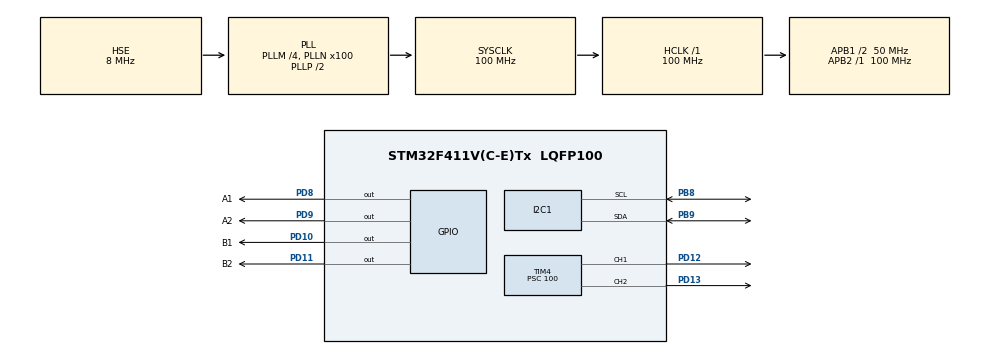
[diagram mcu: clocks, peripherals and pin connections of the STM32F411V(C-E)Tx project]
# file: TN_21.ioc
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Mcu.Family=STM32F4
Mcu.Name=STM32F411V(C-E)Tx
Mcu.Package=LQFP100
NVIC.PriorityGroup=NVIC_PRIORITYGROUP_4
PA13.Mode=Serial_Wire
PA13.Signal=SYS_JTMS-SWDIO
PA14.Mode=Serial_Wire
PA14.Signal=SYS_JTCK-SWCLK
PB8.Mode=I2C
PB8.Signal=I2C1_SCL
PB9.Mode=I2C
PB9.Signal=I2C1_SDA
PD10.GPIO_Label=B1
PD10.GPIO_ModeDefaultOutputPP=GPIO_MODE_OUTPUT_PP
PD10.GPIO_PuPd=GPIO_PULLUP
PD10.GPIO_Speed=GPIO_SPEED_FREQ_VERY_HIGH
PD10.PinState=GPIO_PIN_SET
PD10.Signal=GPIO_Output
PD11.GPIO_Label=B2
PD11.GPIO_ModeDefaultOutputPP=GPIO_MODE_OUTPUT_PP
PD11.GPIO_PuPd=GPIO_PULLUP
PD11.GPIO_Speed=GPIO_SPEED_FREQ_VERY_HIGH
PD11.Signal=GPIO_Output
PD12.Signal=S_TIM4_CH1
PD13.Signal=S_TIM4_CH2
PD8.GPIO_Label=A1
PD8.GPIO_ModeDefaultOutputPP=GPIO_MODE_OUTPUT_PP
PD8.GPIO_PuPd=GPIO_PULLUP
PD8.GPIO_Speed=GPIO_SPEED_FREQ_VERY_HIGH
PD8.PinState=GPIO_PIN_SET
PD8.Signal=GPIO_Output
PD9.GPIO_Label=A2
PD9.GPIO_ModeDefaultOutputPP=GPIO_MODE_OUTPUT_PP
PD9.GPIO_PuPd=GPIO_PULLUP
PD9.GPIO_Speed=GPIO_SPEED_FREQ_VERY_HIGH
PD9.Signal=GPIO_Output
PH0\ -\ OSC_IN.Mode=HSE-External-Oscillator
PH0\ -\ OSC_IN.Signal=RCC_OSC_IN
PH1\ -\ OSC_OUT.Mode=HSE-External-Oscillator
PH1\ -\ OSC_OUT.Signal=RCC_OSC_OUT
ProjectManager.HeapSize=0x200
ProjectManager.StackSize=0x400
ProjectManager.TargetToolchain=MDK-ARM V5
RCC.48MHZClocksFreq_Value=50000000
RCC.AHBFreq_Value=100000000
RCC.APB1CLKDivider=RCC_HCLK_DIV2
RCC.APB1Freq_Value=50000000
RCC.APB1TimFreq_Value=100000000
RCC.APB2Freq_Value=100000000
RCC.APB2TimFreq_Value=100000000
RCC.CortexFreq_Value=100000000
RCC.HCLKFreq_Value=100000000
RCC.HSE_VALUE=8000000
RCC.HSI_VALUE=16000000
RCC.LSE_VALUE=32768
RCC.PLLM=4
RCC.PLLN=100
RCC.PLLSourceVirtual=RCC_PLLSOURCE_HSE
RCC.SYSCLKFreq_VALUE=100000000
RCC.SYSCLKSource=RCC_SYSCLKSOURCE_PLLCLK
RCC.VCOOutputFreq_Value=200000000
SH.S_TIM4_CH1.0=TIM4_CH1,PWM Generation1 CH1
SH.S_TIM4_CH2.0=TIM4_CH2,PWM Generation2 CH2
TIM3.Period=1
TIM3.Prescaler=50000
TIM4.Channel-PWM\ Generation1\ CH1=TIM_CHANNEL_1
TIM4.Channel-PWM\ Generation2\ CH2=TIM_CHANNEL_2
TIM4.Period=999
TIM4.Prescaler=100
VP_TIM3_VS_ClockSourceINT.Mode=Internal
VP_TIM4_VS_ClockSourceINT.Mode=Internal
board=custom

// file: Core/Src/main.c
/* USER CODE BEGIN Header */
/**
  ******************************************************************************
  * @file           : main.c
  * @brief          : Main program body
  ******************************************************************************
  * @attention
  *
  * <h2><center>&copy; Copyright (c) 2021 STMicroelectronics.
  * All rights reserved.</center></h2>
  *
  * This software component is licensed by ST under BSD 3-Clause license,
  * the "License"; You may not use this file except in compliance with the
  * License. You may obtain a copy of the License at:
  *                        opensource.org/licenses/BSD-3-Clause
  *
  ******************************************************************************
  */
/* USER CODE END Header */
#include "main.h"

/* USER CODE BEGIN Includes */
#include "stdio.h"
#include "math.h"
int16_t Accel_X_RAW = 0;
int16_t Accel_Y_RAW = 0;
int16_t Accel_Z_RAW = 0;

int16_t Gyro_X_RAW = 0;
int16_t Gyro_Y_RAW = 0;
int16_t Gyro_Z_RAW = 0;
/* USER CODE END Includes */

/* USER CODE BEGIN PTD */
#define WHO_AM_I_REG 0X75
#define MPU6050_ADDR 0XD0
#define PWR_MGMT_1_REG 0x6B
#define SMPLRT_DIV_REG 0x19
#define ACCEL_CONFIG_REG 0x1C
#define GYRO_CONFIG_REG 0x1B

#define ACCEL_XOUT_H_REG 0x3B
#define GYRO_XOUT_H_REG 0x43
#define TEMP_OUT_H_REG 0x41
#define PWR_MGMT_1_REG 0x6B
float Ax, Ay, Az, Gx, Gy, Gz;
volatile int i;
float pitch = 0.0;
float gyroRate = 0.0;
float pi = 3.1415926559;
float time_0 = 0.0;
float time_1 = 0.0;
float timeCurrent;
float Q_angle;
float Q_bias;
float R_measure;
float angle;
float bias;
float P[2][2];
int16_t rawYGyro;
int16_t rawXAccel, rawZAccel;
float  u;
float Kp ;//5.5
float Ki ;//1.5
float Kd  ;//2
float pTerm, iTerm, dTerm, integrated_error, last_error, error;
float AngleNow;
float SP = 189.8;
/* USER CODE END PTD */

I2C_HandleTypeDef hi2c1;

TIM_HandleTypeDef htim3;
TIM_HandleTypeDef htim4;

void SystemClock_Config(void);
static void MX_GPIO_Init(void);
static void MX_I2C1_Init(void);
static void MX_TIM3_Init(void);
static void MX_TIM4_Init(void);

/* USER CODE BEGIN 0 */
void MPU6050_Init(void)
{
  uint8_t check, Data;
	HAL_I2C_Mem_Read(&hi2c1, MPU6050_ADDR, WHO_AM_I_REG,1,&check,1,1000);
		if(check == 104) // if the device is present
		{
			Data =0;
			HAL_I2C_Mem_Write(&hi2c1, MPU6050_ADDR,PWR_MGMT_1_REG,1,&Data, 1, 1000);
      Data= 0x07;
			HAL_I2C_Mem_Write(&hi2c1, MPU6050_ADDR, SMPLRT_DIV_REG,1,&Data,1,1000);
      Data = 0x00;
			HAL_I2C_Mem_Write(&hi2c1, MPU6050_ADDR, ACCEL_CONFIG_REG,1,&Data,1,1000);
      Data = 0x00;
			HAL_I2C_Mem_Write(&hi2c1, MPU6050_ADDR, GYRO_CONFIG_REG,1,&Data,1,1000);
		}
}

float Kalman_getAngle( float newAngle, float newRate, float dt) {
    float rate = newRate - bias;
    angle += dt * rate;

    P[0][0] += dt * (dt * P[1][1] - P[0][1] - P[1][0] + Q_angle);
    P[0][1] -= dt * P[1][1];
    P[1][0] -= dt * P[1][1];
    P[1][1] += Q_bias * dt;

    float S = P[0][0] + R_measure;
    float K[2];
    K[0] = P[0][0] / S;
    K[1] = P[1][0] / S;

    float y = newAngle - angle;
    angle += K[0] * y;
    bias += K[1] * y;

    float P00_temp = P[0][0];
    float P01_temp = P[0][1];

    P[0][0] -= K[0] * P00_temp;
    P[0][1] -= K[0] * P01_temp;
    P[1][0] -= K[1] * P00_temp;
    P[1][1] -= K[1] * P01_temp;

    return angle;
};

		void PID_angle_u()
	{
Kp=175;		//50	20
Ki=0; 	//8.7	18.5
Kd=0;		//0.15	0.1

	 error= SP - AngleNow;  // 180 = level

  pTerm = Kp* error;
//  integrated_error += error;
//  iTerm = Ki*integrated_error;
//  dTerm = Kd*(error - last_error);
iTerm = Ki * (error + last_error);
dTerm = Kd * (error - last_error);
  last_error = error;
  u =  pTerm + iTerm + dTerm;
	i = u;
 if ( u > 999 ) {
 u = 999;}
 else if ( u< -999 ) u= 999 ;

	}
void MPU6050_Read_Accel(void){
 uint8_t Rec_Data[6];

	HAL_I2C_Mem_Read (&hi2c1, MPU6050_ADDR, ACCEL_XOUT_H_REG,1,Rec_Data,6,1000);

	Accel_X_RAW = (int16_t)(Rec_Data[0] << 8 | Rec_Data [1]);
	Accel_Y_RAW = (int16_t)(Rec_Data[2] << 8 | Rec_Data [3]);
	Accel_Z_RAW = (int16_t)(Rec_Data[4] << 8 | Rec_Data [5]);

	Ax = Accel_X_RAW/16384.0f;
	Ay = Accel_Y_RAW/16384.0f;
	Az = Accel_Z_RAW/16384.0f;
	}

void MPU6050_Read_Gyro (void)
{
	uint8_t Rec_Data[6];

	// Read 6 BYTES of data starting from GYRO_XOUT_H register

	HAL_I2C_Mem_Read (&hi2c1, MPU6050_ADDR, GYRO_XOUT_H_REG, 1, Rec_Data, 6,1000);

	Gyro_X_RAW = (int16_t)(Rec_Data[0] << 8 | Rec_Data [1]);
	Gyro_Y_RAW = (int16_t)(Rec_Data[2] << 8 | Rec_Data [3]);
	Gyro_Z_RAW = (int16_t)(Rec_Data[4] << 8 | Rec_Data [5]);

	/*** convert the RAW values into dps (°/s)
	     we have to divide according to the Full scale value set in FS_SEL
	     I have configured FS_SEL = 0. So I am dividing by 131.0
	     for more details check GYRO_CONFIG Register              ****/

	Gx = Gyro_X_RAW/131.0f;
	Gy = Gyro_Y_RAW/131.0f;
	Gz = Gyro_Z_RAW/131.0f;
}
/* USER CODE END 0 */

int main(void)
{

  /* MCU Configuration--------------------------------------------------------*/

  /* Reset of all peripherals, Initializes the Flash interface and the Systick. */
  HAL_Init();

  /* Configure the system clock */
  SystemClock_Config();

  /* Initialize all configured peripherals */
  MX_GPIO_Init();
  MX_I2C1_Init();
  MX_TIM3_Init();
  MX_TIM4_Init();
  /* USER CODE BEGIN 2 */
 MPU6050_Init();
 bias =0.0;
angle = 0.0;
Q_angle = 0.001;
Q_bias = 0.003;
R_measure = 0.03;
HAL_TIM_PWM_Start(&htim4, TIM_CHANNEL_1);
HAL_TIM_PWM_Start(&htim4, TIM_CHANNEL_2);
/*HAL_GPIO_WritePin(GPIOD,GPIO_PIN_8,GPIO_PIN_SET);
HAL_GPIO_WritePin(GPIOD,GPIO_PIN_9,GPIO_PIN_RESET);
//HAL_GPIO_WritePin(GPIOD,GPIO_PIN_10,GPIO_PIN_SET);
//HAL_GPIO_WritePin(GPIOD,GPIO_PIN_11,GPIO_PIN_RESET);
//__HAL_TIM_SetCompare(&htim4,TIM_CHANNEL_1,255);
__HAL_TIM_SetCompare(&htim4,TIM_CHANNEL_2,300);*/
  /* USER CODE END 2 */

  /* Infinite loop */
  while (1)
  {
		MPU6050_Read_Accel();
	   MPU6050_Read_Gyro();
time_0 = HAL_GetTick();
 timeCurrent = (time_0 - time_1)/1000;
time_1 = time_0 ;
pitch = (atan2f((- Ax), Az)+pi)*180/pi;
AngleNow = Kalman_getAngle(pitch,Gy,timeCurrent);
PID_angle_u();
//		if(AngleNow<182 && AngleNow>180)
//			{
//__HAL_TIM_SetCompare(&htim4,TIM_CHANNEL_1,0);
//__HAL_TIM_SetCompare(&htim4,TIM_CHANNEL_2,0);
//			}
//			else{
				if(u<0) // angle>180
				{
					u=0-u;
					HAL_GPIO_WritePin(GPIOD,GPIO_PIN_8,GPIO_PIN_SET);
					HAL_GPIO_WritePin(GPIOD,GPIO_PIN_9,GPIO_PIN_RESET);
					HAL_GPIO_WritePin(GPIOD,GPIO_PIN_10,GPIO_PIN_SET);
					HAL_GPIO_WritePin(GPIOD,GPIO_PIN_11,GPIO_PIN_RESET);
					__HAL_TIM_SetCompare(&htim4,TIM_CHANNEL_1,u+115);
					__HAL_TIM_SetCompare(&htim4,TIM_CHANNEL_2,u+115);
				}
				else
				{

					HAL_GPIO_WritePin(GPIOD,GPIO_PIN_8,GPIO_PIN_RESET);
					HAL_GPIO_WritePin(GPIOD,GPIO_PIN_9,GPIO_PIN_SET);
					HAL_GPIO_WritePin(GPIOD,GPIO_PIN_10,GPIO_PIN_RESET);
					HAL_GPIO_WritePin(GPIOD,GPIO_PIN_11,GPIO_PIN_SET);
					__HAL_TIM_SetCompare(&htim4,TIM_CHANNEL_1,u+110);
					__HAL_TIM_SetCompare(&htim4,TIM_CHANNEL_2,u+110);

				}

				//}
  }
}

void SystemClock_Config(void)
{
  RCC_OscInitTypeDef RCC_OscInitStruct = {0};
  RCC_ClkInitTypeDef RCC_ClkInitStruct = {0};

  /** Configure the main internal regulator output voltage
  */
  __HAL_RCC_PWR_CLK_ENABLE();
  __HAL_PWR_VOLTAGESCALING_CONFIG(PWR_REGULATOR_VOLTAGE_SCALE1);
  /** Initializes the RCC Oscillators according to the specified parameters
  * in the RCC_OscInitTypeDef structure.
  */
  RCC_OscInitStruct.OscillatorType = RCC_OSCILLATORTYPE_HSE;
  RCC_OscInitStruct.HSEState = RCC_HSE_ON;
  RCC_OscInitStruct.PLL.PLLState = RCC_PLL_ON;
  RCC_OscInitStruct.PLL.PLLSource = RCC_PLLSOURCE_HSE;
  RCC_OscInitStruct.PLL.PLLM = 4;
  RCC_OscInitStruct.PLL.PLLN = 100;
  RCC_OscInitStruct.PLL.PLLP = RCC_PLLP_DIV2;
  RCC_OscInitStruct.PLL.PLLQ = 4;
  if (HAL_RCC_OscConfig(&RCC_OscInitStruct) != HAL_OK)
  {
    Error_Handler();
  }
  /** Initializes the CPU, AHB and APB buses clocks
  */
  RCC_ClkInitStruct.ClockType = RCC_CLOCKTYPE_HCLK|RCC_CLOCKTYPE_SYSCLK
                              |RCC_CLOCKTYPE_PCLK1|RCC_CLOCKTYPE_PCLK2;
  RCC_ClkInitStruct.SYSCLKSource = RCC_SYSCLKSOURCE_PLLCLK;
  RCC_ClkInitStruct.AHBCLKDivider = RCC_SYSCLK_DIV1;
  RCC_ClkInitStruct.APB1CLKDivider = RCC_HCLK_DIV2;
  RCC_ClkInitStruct.APB2CLKDivider = RCC_HCLK_DIV1;

  if (HAL_RCC_ClockConfig(&RCC_ClkInitStruct, FLASH_LATENCY_3) != HAL_OK)
  {
    Error_Handler();
  }
}

static void MX_I2C1_Init(void)
{

  hi2c1.Instance = I2C1;
  hi2c1.Init.ClockSpeed = 100000;
  hi2c1.Init.DutyCycle = I2C_DUTYCYCLE_2;
  hi2c1.Init.OwnAddress1 = 0;
  hi2c1.Init.AddressingMode = I2C_ADDRESSINGMODE_7BIT;
  hi2c1.Init.DualAddressMode = I2C_DUALADDRESS_DISABLE;
  hi2c1.Init.OwnAddress2 = 0;
  hi2c1.Init.GeneralCallMode = I2C_GENERALCALL_DISABLE;
  hi2c1.Init.NoStretchMode = I2C_NOSTRETCH_DISABLE;
  if (HAL_I2C_Init(&hi2c1) != HAL_OK)
  {
    Error_Handler();
  }

}

static void MX_TIM3_Init(void)
{

  TIM_ClockConfigTypeDef sClockSourceConfig = {0};
  TIM_MasterConfigTypeDef sMasterConfig = {0};

  htim3.Instance = TIM3;
  htim3.Init.Prescaler = 50000;
  htim3.Init.CounterMode = TIM_COUNTERMODE_UP;
  htim3.Init.Period = 1;
  htim3.Init.ClockDivision = TIM_CLOCKDIVISION_DIV1;
  htim3.Init.AutoReloadPreload = TIM_AUTORELOAD_PRELOAD_DISABLE;
  if (HAL_TIM_Base_Init(&htim3) != HAL_OK)
  {
    Error_Handler();
  }
  sClockSourceConfig.ClockSource = TIM_CLOCKSOURCE_INTERNAL;
  if (HAL_TIM_ConfigClockSource(&htim3, &sClockSourceConfig) != HAL_OK)
  {
    Error_Handler();
  }
  sMasterConfig.MasterOutputTrigger = TIM_TRGO_RESET;
  sMasterConfig.MasterSlaveMode = TIM_MASTERSLAVEMODE_DISABLE;
  if (HAL_TIMEx_MasterConfigSynchronization(&htim3, &sMasterConfig) != HAL_OK)
  {
    Error_Handler();
  }

}

static void MX_TIM4_Init(void)
{

  TIM_ClockConfigTypeDef sClockSourceConfig = {0};
  TIM_MasterConfigTypeDef sMasterConfig = {0};
  TIM_OC_InitTypeDef sConfigOC = {0};

  htim4.Instance = TIM4;
  htim4.Init.Prescaler = 100;
  htim4.Init.CounterMode = TIM_COUNTERMODE_UP;
  htim4.Init.Period = 999;
  htim4.Init.ClockDivision = TIM_CLOCKDIVISION_DIV1;
  htim4.Init.AutoReloadPreload = TIM_AUTORELOAD_PRELOAD_DISABLE;
  if (HAL_TIM_Base_Init(&htim4) != HAL_OK)
  {
    Error_Handler();
  }
  sClockSourceConfig.ClockSource = TIM_CLOCKSOURCE_INTERNAL;
  if (HAL_TIM_ConfigClockSource(&htim4, &sClockSourceConfig) != HAL_OK)
  {
    Error_Handler();
  }
  if (HAL_TIM_PWM_Init(&htim4) != HAL_OK)
  {
    Error_Handler();
  }
  sMasterConfig.MasterOutputTrigger = TIM_TRGO_RESET;
  sMasterConfig.MasterSlaveMode = TIM_MASTERSLAVEMODE_DISABLE;
  if (HAL_TIMEx_MasterConfigSynchronization(&htim4, &sMasterConfig) != HAL_OK)
  {
    Error_Handler();
  }
  sConfigOC.OCMode = TIM_OCMODE_PWM1;
  sConfigOC.Pulse = 0;
  sConfigOC.OCPolarity = TIM_OCPOLARITY_HIGH;
  sConfigOC.OCFastMode = TIM_OCFAST_DISABLE;
  if (HAL_TIM_PWM_ConfigChannel(&htim4, &sConfigOC, TIM_CHANNEL_1) != HAL_OK)
  {
    Error_Handler();
  }
  if (HAL_TIM_PWM_ConfigChannel(&htim4, &sConfigOC, TIM_CHANNEL_2) != HAL_OK)
  {
    Error_Handler();
  }
  HAL_TIM_MspPostInit(&htim4);

}

static void MX_GPIO_Init(void)
{
  GPIO_InitTypeDef GPIO_InitStruct = {0};

  /* GPIO Ports Clock Enable */
  __HAL_RCC_GPIOH_CLK_ENABLE();
  __HAL_RCC_GPIOD_CLK_ENABLE();
  __HAL_RCC_GPIOA_CLK_ENABLE();
  __HAL_RCC_GPIOB_CLK_ENABLE();

  /*Configure GPIO pin Output Level */
  HAL_GPIO_WritePin(GPIOD, A1_Pin|B1_Pin, GPIO_PIN_SET);

  /*Configure GPIO pin Output Level */
  HAL_GPIO_WritePin(GPIOD, A2_Pin|B2_Pin, GPIO_PIN_RESET);

  /*Configure GPIO pins : A1_Pin A2_Pin B1_Pin B2_Pin */
  GPIO_InitStruct.Pin = A1_Pin|A2_Pin|B1_Pin|B2_Pin;
  GPIO_InitStruct.Mode = GPIO_MODE_OUTPUT_PP;
  GPIO_InitStruct.Pull = GPIO_PULLUP;
  GPIO_InitStruct.Speed = GPIO_SPEED_FREQ_VERY_HIGH;
  HAL_GPIO_Init(GPIOD, &GPIO_InitStruct);

}

void Error_Handler(void)
{
  __disable_irq();
  while (1)
  {
  }
}

/************************ (C) COPYRIGHT STMicroelectronics *****END OF FILE****/
